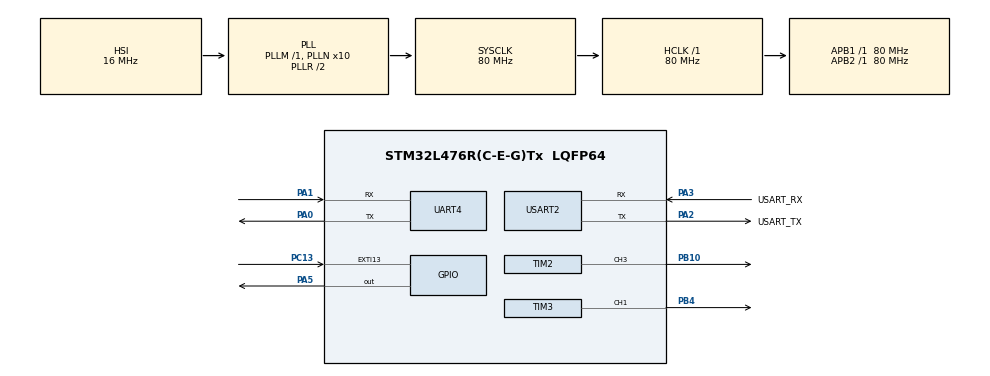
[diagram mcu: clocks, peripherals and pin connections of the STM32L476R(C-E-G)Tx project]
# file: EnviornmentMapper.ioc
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Mcu.Family=STM32L4
Mcu.Name=STM32L476R(C-E-G)Tx
Mcu.Package=LQFP64
NUCLEO-L476RG.BUTTON=1
NUCLEO-L476RG.LD2=true
NVIC.EXTI15_10_IRQn=true\:0\:0\:false\:false\:true\:false\:true\:true
NVIC.PriorityGroup=NVIC_PRIORITYGROUP_4
PA0.Mode=Asynchronous
PA0.Signal=UART4_TX
PA1.Mode=Asynchronous
PA1.Signal=UART4_RX
PA13\ (JTMS-SWDIO).GPIO_Label=TMS
PA13\ (JTMS-SWDIO).Signal=SYS_JTMS-SWDIO
PA14\ (JTCK-SWCLK).GPIO_Label=TCK
PA14\ (JTCK-SWCLK).Signal=SYS_JTCK-SWCLK
PA2.GPIO_Label=USART_TX
PA2.GPIO_Mode=GPIO_MODE_AF_PP
PA2.GPIO_PuPd=GPIO_NOPULL
PA2.GPIO_Speed=GPIO_SPEED_FREQ_VERY_HIGH
PA2.Mode=Asynchronous
PA2.Signal=USART2_TX
PA3.GPIO_Label=USART_RX
PA3.GPIO_Mode=GPIO_MODE_AF_PP
PA3.GPIO_PuPd=GPIO_NOPULL
PA3.GPIO_Speed=GPIO_SPEED_FREQ_VERY_HIGH
PA3.Mode=Asynchronous
PA3.Signal=USART2_RX
PA5.Signal=GPIO_Output
PB10.Signal=S_TIM2_CH3
PB3\ (JTDO-TRACESWO).GPIO_Label=SWO
PB3\ (JTDO-TRACESWO).Signal=SYS_JTDO-SWO
PB4\ (NJTRST).Signal=S_TIM3_CH1
PC13.Signal=GPXTI13
PC14-OSC32_IN\ (PC14).Signal=RCC_OSC32_IN
PC15-OSC32_OUT\ (PC15).Signal=RCC_OSC32_OUT
PH0-OSC_IN\ (PH0).Signal=RCC_OSC_IN
PH1-OSC_OUT\ (PH1).Signal=RCC_OSC_OUT
ProjectManager.HeapSize=0x200
ProjectManager.StackSize=0x400
ProjectManager.TargetToolchain=STM32CubeIDE
RCC.ADCFreq_Value=64000000
RCC.AHBFreq_Value=80000000
RCC.APB1Freq_Value=80000000
RCC.APB1TimFreq_Value=80000000
RCC.APB2Freq_Value=80000000
RCC.APB2TimFreq_Value=80000000
RCC.CortexFreq_Value=80000000
RCC.HCLKFreq_Value=80000000
RCC.HSE_VALUE=8000000
RCC.HSI_VALUE=16000000
RCC.LSE_VALUE=32768
RCC.MSI_VALUE=4000000
RCC.PLLN=10
RCC.PLLSourceVirtual=RCC_PLLSOURCE_HSI
RCC.PREFETCH_ENABLE=1
RCC.SYSCLKFreq_VALUE=80000000
RCC.SYSCLKSource=RCC_SYSCLKSOURCE_PLLCLK
RCC.USBFreq_Value=64000000
RCC.VCOOutputFreq_Value=160000000
SH.S_TIM2_CH3.0=TIM2_CH3,PWM Generation3 CH3
SH.S_TIM3_CH1.0=TIM3_CH1,PWM Generation1 CH1
TIM2.Channel-PWM\ Generation3\ CH3=TIM_CHANNEL_3
TIM2.Period=2499
TIM2.Prescaler=1279
TIM3.Channel-PWM\ Generation1\ CH1=TIM_CHANNEL_1
TIM3.Period=2499
TIM3.Prescaler=1279
USART2.VirtualMode-Asynchronous=VM_ASYNC
VP_NUCLEO-L476RG_VS_BSP_COMMON.Mode=COMMON
board=NUCLEO-L476RG

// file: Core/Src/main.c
/* USER CODE BEGIN Header */
/**
  ******************************************************************************
  * @file           : main.c
  * @brief          : Main program body
  ******************************************************************************
  * @attention
  *
  * Copyright (c) 2026 STMicroelectronics.
  * All rights reserved.
  *
  * This software is licensed under terms that can be found in the LICENSE file
  * in the root directory of this software component.
  * If no LICENSE file comes with this software, it is provided AS-IS.
  *
  ******************************************************************************
  */
/* USER CODE END Header */
#include "main.h"

TIM_HandleTypeDef htim2;
TIM_HandleTypeDef htim3;

UART_HandleTypeDef huart4;
UART_HandleTypeDef huart2;

/* USER CODE BEGIN PV */
// Define max and minimum pan/tilt (full range of servos aren't used)
pan_max = 255;
pan_min = 0;
tilt_max = 200; // This we need to figure out where things happen
tilt_min = 255;

// Buffer for UART transmission/reception

uint8_t obuffer[8]; // onput buffer (this really is the input buffer, but I didn't want to change it since obuffer looks cooler than ibuffer)
int pan_amt;
int tilt_amt;
int distance;

/* USER CODE END PV */

void SystemClock_Config(void);
static void MX_GPIO_Init(void);
static void MX_UART4_Init(void);
static void MX_USART2_UART_Init(void);
static void MX_TIM2_Init(void);
static void MX_TIM3_Init(void);
/* USER CODE BEGIN PFP */
#define PUTCHAR_PROTOTYPE int __io_putchar(int ch)
/* USER CODE END PFP */

int main(void)
{

  /* MCU Configuration--------------------------------------------------------*/

  /* Reset of all peripherals, Initializes the Flash interface and the Systick. */
  HAL_Init();

  /* Configure the system clock */
  SystemClock_Config();

  /* Initialize all configured peripherals */
  MX_GPIO_Init();
  MX_UART4_Init();
  MX_USART2_UART_Init();
  MX_TIM2_Init();
  MX_TIM3_Init();
  /* USER CODE BEGIN 2 */
  // Initialize Timers
  HAL_TIM_PWM_Start(&htim2, TIM_CHANNEL_3);
  HAL_TIM_PWM_Start(&htim3, TIM_CHANNEL_1);
  // set pan and tilt to 0
  pan_amt = 0;
  tilt_amt = 0;
  /* USER CODE END 2 */

  /* Initialize leds */
  BSP_LED_Init(LED_GREEN);

  /* Initialize USER push-button, will be used to trigger an interrupt each time it's pressed.*/
  BSP_PB_Init(BUTTON_USER, BUTTON_MODE_EXTI);

  /* Infinite loop */
  /* USER CODE BEGIN WHILE */
  while (1)
  {

	// Adjust PWM based on pan and tilt
	__HAL_TIM_SET_COMPARE(&htim2, TIM_CHANNEL_3, pan_amt);
	__HAL_TIM_SET_COMPARE(&htim3, TIM_CHANNEL_1, tilt_amt);
	// Get LIDAR Data
	HAL_UART_Receive(&huart4, obuffer, 8, 0xFFFF);
	// Convert distance to int
	distance = (obuffer[3] << 8) + obuffer[2]; // High + low using bit shifting to get 16 bit value
	// Which will then be converted back to whatever
	// Not implemented yet
	printf("%d-%d-%d\n\r", pan_amt, tilt_amt, distance);
	// Increment pan/tilt
	pan_amt++;
	tilt_amt++;
	if(pan_amt > pan_max) {
		pan_amt = pan_min;
	}
	if(tilt_amt > tilt_max) {
		tilt_amt = tilt_min;
	}
	HAL_Delay(100);

    /* USER CODE END WHILE */

  }
}

void SystemClock_Config(void)
{
  RCC_OscInitTypeDef RCC_OscInitStruct = {0};
  RCC_ClkInitTypeDef RCC_ClkInitStruct = {0};

  /** Configure the main internal regulator output voltage
  */
  if (HAL_PWREx_ControlVoltageScaling(PWR_REGULATOR_VOLTAGE_SCALE1) != HAL_OK)
  {
    Error_Handler();
  }

  /** Initializes the RCC Oscillators according to the specified parameters
  * in the RCC_OscInitTypeDef structure.
  */
  RCC_OscInitStruct.OscillatorType = RCC_OSCILLATORTYPE_HSI;
  RCC_OscInitStruct.HSIState = RCC_HSI_ON;
  RCC_OscInitStruct.HSICalibrationValue = RCC_HSICALIBRATION_DEFAULT;
  RCC_OscInitStruct.PLL.PLLState = RCC_PLL_ON;
  RCC_OscInitStruct.PLL.PLLSource = RCC_PLLSOURCE_HSI;
  RCC_OscInitStruct.PLL.PLLM = 1;
  RCC_OscInitStruct.PLL.PLLN = 10;
  RCC_OscInitStruct.PLL.PLLP = RCC_PLLP_DIV7;
  RCC_OscInitStruct.PLL.PLLQ = RCC_PLLQ_DIV2;
  RCC_OscInitStruct.PLL.PLLR = RCC_PLLR_DIV2;
  if (HAL_RCC_OscConfig(&RCC_OscInitStruct) != HAL_OK)
  {
    Error_Handler();
  }

  /** Initializes the CPU, AHB and APB buses clocks
  */
  RCC_ClkInitStruct.ClockType = RCC_CLOCKTYPE_HCLK|RCC_CLOCKTYPE_SYSCLK
                              |RCC_CLOCKTYPE_PCLK1|RCC_CLOCKTYPE_PCLK2;
  RCC_ClkInitStruct.SYSCLKSource = RCC_SYSCLKSOURCE_PLLCLK;
  RCC_ClkInitStruct.AHBCLKDivider = RCC_SYSCLK_DIV1;
  RCC_ClkInitStruct.APB1CLKDivider = RCC_HCLK_DIV1;
  RCC_ClkInitStruct.APB2CLKDivider = RCC_HCLK_DIV1;

  if (HAL_RCC_ClockConfig(&RCC_ClkInitStruct, FLASH_LATENCY_4) != HAL_OK)
  {
    Error_Handler();
  }
}

static void MX_TIM2_Init(void)
{

  TIM_MasterConfigTypeDef sMasterConfig = {0};
  TIM_OC_InitTypeDef sConfigOC = {0};

  htim2.Instance = TIM2;
  htim2.Init.Prescaler = 1279;
  htim2.Init.CounterMode = TIM_COUNTERMODE_UP;
  htim2.Init.Period = 2499;
  htim2.Init.ClockDivision = TIM_CLOCKDIVISION_DIV1;
  htim2.Init.AutoReloadPreload = TIM_AUTORELOAD_PRELOAD_DISABLE;
  if (HAL_TIM_PWM_Init(&htim2) != HAL_OK)
  {
    Error_Handler();
  }
  sMasterConfig.MasterOutputTrigger = TIM_TRGO_RESET;
  sMasterConfig.MasterSlaveMode = TIM_MASTERSLAVEMODE_DISABLE;
  if (HAL_TIMEx_MasterConfigSynchronization(&htim2, &sMasterConfig) != HAL_OK)
  {
    Error_Handler();
  }
  sConfigOC.OCMode = TIM_OCMODE_PWM1;
  sConfigOC.Pulse = 0;
  sConfigOC.OCPolarity = TIM_OCPOLARITY_HIGH;
  sConfigOC.OCFastMode = TIM_OCFAST_DISABLE;
  if (HAL_TIM_PWM_ConfigChannel(&htim2, &sConfigOC, TIM_CHANNEL_3) != HAL_OK)
  {
    Error_Handler();
  }
  HAL_TIM_MspPostInit(&htim2);

}

static void MX_TIM3_Init(void)
{

  TIM_MasterConfigTypeDef sMasterConfig = {0};
  TIM_OC_InitTypeDef sConfigOC = {0};

  htim3.Instance = TIM3;
  htim3.Init.Prescaler = 1279;
  htim3.Init.CounterMode = TIM_COUNTERMODE_UP;
  htim3.Init.Period = 2499;
  htim3.Init.ClockDivision = TIM_CLOCKDIVISION_DIV1;
  htim3.Init.AutoReloadPreload = TIM_AUTORELOAD_PRELOAD_DISABLE;
  if (HAL_TIM_PWM_Init(&htim3) != HAL_OK)
  {
    Error_Handler();
  }
  sMasterConfig.MasterOutputTrigger = TIM_TRGO_RESET;
  sMasterConfig.MasterSlaveMode = TIM_MASTERSLAVEMODE_DISABLE;
  if (HAL_TIMEx_MasterConfigSynchronization(&htim3, &sMasterConfig) != HAL_OK)
  {
    Error_Handler();
  }
  sConfigOC.OCMode = TIM_OCMODE_PWM1;
  sConfigOC.Pulse = 0;
  sConfigOC.OCPolarity = TIM_OCPOLARITY_HIGH;
  sConfigOC.OCFastMode = TIM_OCFAST_DISABLE;
  if (HAL_TIM_PWM_ConfigChannel(&htim3, &sConfigOC, TIM_CHANNEL_1) != HAL_OK)
  {
    Error_Handler();
  }
  HAL_TIM_MspPostInit(&htim3);

}

static void MX_UART4_Init(void)
{

  huart4.Instance = UART4;
  huart4.Init.BaudRate = 115200;
  huart4.Init.WordLength = UART_WORDLENGTH_8B;
  huart4.Init.StopBits = UART_STOPBITS_1;
  huart4.Init.Parity = UART_PARITY_NONE;
  huart4.Init.Mode = UART_MODE_TX_RX;
  huart4.Init.HwFlowCtl = UART_HWCONTROL_NONE;
  huart4.Init.OverSampling = UART_OVERSAMPLING_16;
  huart4.Init.OneBitSampling = UART_ONE_BIT_SAMPLE_DISABLE;
  huart4.AdvancedInit.AdvFeatureInit = UART_ADVFEATURE_NO_INIT;
  if (HAL_UART_Init(&huart4) != HAL_OK)
  {
    Error_Handler();
  }

}

static void MX_USART2_UART_Init(void)
{

  huart2.Instance = USART2;
  huart2.Init.BaudRate = 115200;
  huart2.Init.WordLength = UART_WORDLENGTH_8B;
  huart2.Init.StopBits = UART_STOPBITS_1;
  huart2.Init.Parity = UART_PARITY_NONE;
  huart2.Init.Mode = UART_MODE_TX_RX;
  huart2.Init.HwFlowCtl = UART_HWCONTROL_NONE;
  huart2.Init.OverSampling = UART_OVERSAMPLING_16;
  huart2.Init.OneBitSampling = UART_ONE_BIT_SAMPLE_DISABLE;
  huart2.AdvancedInit.AdvFeatureInit = UART_ADVFEATURE_NO_INIT;
  if (HAL_UART_Init(&huart2) != HAL_OK)
  {
    Error_Handler();
  }

}

static void MX_GPIO_Init(void)
{

  /* GPIO Ports Clock Enable */
  __HAL_RCC_GPIOC_CLK_ENABLE();
  __HAL_RCC_GPIOH_CLK_ENABLE();
  __HAL_RCC_GPIOA_CLK_ENABLE();
  __HAL_RCC_GPIOB_CLK_ENABLE();

}

/* USER CODE BEGIN 4 */
// Code from lab to replace print with uart
PUTCHAR_PROTOTYPE
{
 /* Place your implementation of fputc here */
 /* e.g. write a character to the USART1 and Loop until the end of transmission */
 HAL_UART_Transmit(&huart2, (uint8_t *)&ch, 1, 0xFFFF);
 return ch;
}

/* USER CODE END 4 */

void Error_Handler(void)
{
  __disable_irq();
  while (1)
  {
  }
}
